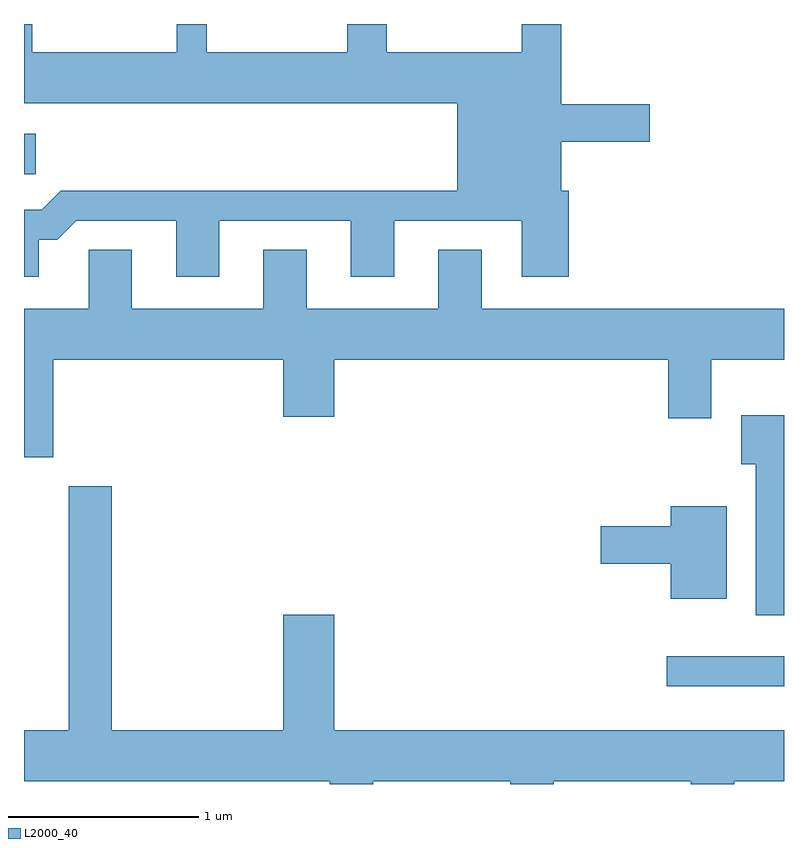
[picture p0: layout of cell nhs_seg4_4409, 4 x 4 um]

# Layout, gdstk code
import gdstk
lib = gdstk.Library(unit=1e-6, precision=1e-09)
def R(c, l, rs):  # rectangles x0, y0, x1, y1
    for r in rs: c.add(gdstk.rectangle(r[:2], r[2:], *l))
def P(c, l, *ps):  # polygons
    for p in ps: c.add(gdstk.Polygon(p, *l))
L2000_40 = (2000, 40)

nhs_seg4_4409 = lib.new_cell('nhs_seg4_4409')
R(nhs_seg4_4409, L2000_40, [(316.993,1368.496,317.611,1368.654), (313.611,1371.191,313.674,1371.404)])
P(nhs_seg4_4409, L2000_40, [(313.689,1370.846),(313.787,1370.846),(313.887,1370.946),(314.411,1370.946),(314.411,1370.651),(314.639,1370.651),(314.639,1370.946),(315.331,1370.946),(315.331,1370.651),(315.559,1370.651),(315.559,1370.946),(316.231,1370.946),(316.231,1370.651),(316.479,1370.651),(316.479,1371.104),(316.439,1371.104),(316.439,1371.361),(316.904,1371.361),(316.904,1371.559),(316.439,1371.559),(316.439,1371.982),(316.231,1371.982),(316.231,1371.834),(315.519,1371.834),(315.519,1371.982),(315.311,1371.982),(315.311,1371.834),(314.574,1371.834),(314.574,1371.982),(314.416,1371.982),(314.416,1371.834),(313.654,1371.834),(313.654,1371.982),(313.611,1371.982),(313.611,1371.566),(315.891,1371.566),(315.891,1371.104),(313.804,1371.104),(313.704,1371.004),(313.611,1371.004),(313.611,1370.651),(313.689,1370.651)],
  [(313.764,1370.216),(314.976,1370.216),(314.976,1369.916),(315.244,1369.916),(315.244,1370.216),(317.001,1370.216),(317.001,1369.906),(317.229,1369.906),(317.229,1370.216),(317.611,1370.216),(317.611,1370.484),(316.019,1370.484),(316.019,1370.794),(315.791,1370.794),(315.791,1370.484),(315.099,1370.484),(315.099,1370.794),(314.871,1370.794),(314.871,1370.484),(314.179,1370.484),(314.179,1370.794),(313.951,1370.794),(313.951,1370.484),(313.611,1370.484),(313.611,1369.701),(313.764,1369.701)],
  [(317.611,1369.924),(317.386,1369.924),(317.386,1369.666),(317.461,1369.666),(317.461,1368.871),(317.611,1368.871)],
  [(315.449,1367.996),(316.171,1367.996),(316.171,1367.982),(316.399,1367.982),(316.399,1367.996),(317.121,1367.996),(317.121,1367.982),(317.349,1367.982),(317.349,1367.996),(317.611,1367.996),(317.611,1368.264),(315.244,1368.264),(315.244,1368.874),(314.976,1368.874),(314.976,1368.264),(314.074,1368.264),(314.074,1369.549),(313.846,1369.549),(313.846,1368.264),(313.611,1368.264),(313.611,1367.996),(315.221,1367.996),(315.221,1367.982),(315.449,1367.982)],
  [(317.309,1369.444),(317.016,1369.444),(317.016,1369.339),(316.646,1369.339),(316.646,1369.141),(317.016,1369.141),(317.016,1368.956),(317.309,1368.956)])

lib.write_gds('nhs_seg4_4409.gds')
